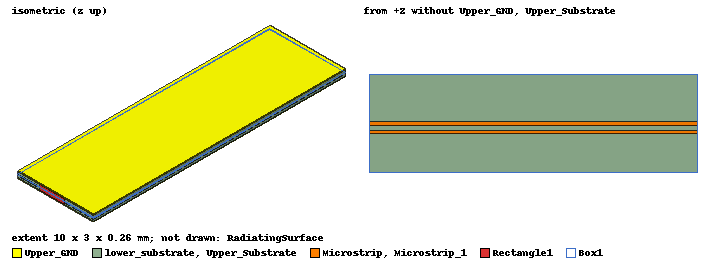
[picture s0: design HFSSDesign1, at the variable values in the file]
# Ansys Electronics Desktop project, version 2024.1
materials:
  vacuum: permittivity=1
  Custom_ADM_Material: permittivity=3.3 dielectric_loss_tangent=0.003 delta_H_freq=10GHz
  copper: permeability=0.999991 conductivity=58000000
  pec: conductivity=1e+30
  air: permittivity=1.0006 permeability=1.0000004

design HFSSDesign1 (HFSS, HFSS Terminal Network, model units mm)
options: Allow_Material_Override Calculate_Lossy_Dielectrics
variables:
  track_length = 10mm
  sub_thick = 100um
  track_width = 0.0954mm
  copper_thick = 20um
  port_width = 1mm
  spacing = 0.25mm
  pitch = 14.07mil
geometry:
  lower_substrate [Custom_ADM_Material] = box(corner=(-track_length/2, 1.5mm, 0mm), size=(track_length, -3mm, -sub_thick))
  RadiatingSurface [vacuum] = region(absolute_offset: +X=0mm, -X=0mm, +Y=2mm, -Y=2mm, +Z=2mm, -Z=2mm)
  Microstrip [copper] = rectangle(corner=(-track_length/2, -track_width/2, 0mm), x_size=track_length, y_size=track_width)
  Microstrip.thicken(copper_thick)
  Upper_Substrate [Custom_ADM_Material] = lower_substrate.duplicate_along_line(step=(0mm, 0mm, 0.12mm), total=2)
  Box1 [air] = box(corner=(track_length/2, 1.5mm, 0.02mm), size=(-track_length, -3mm, -0.02mm))
  Upper_GND [copper] = object_from(Upper_Substrate.face(1 of 6))
  Upper_GND.thicken(copper_thick)
  Lower_GND = object_from(lower_substrate.face(-z))
  Lower_GND.thicken(20um)
  Rectangle1 = rectangle(corner=(track_length/2, -4*track_width - spacing, 0.12mm), y_size=8*track_width+spacing, z_size=-0.22mm)
  Rectangle1_1 = Rectangle1.duplicate_along_line(step=(-track_length, 0mm, 0mm), total=2)
  Microstrip_1 [copper] = Microstrip.duplicate_along_line(step=(0mm, -spacing, 0mm), total=2)
  Cylinder1 = cylinder(axis=Z, base_centre=(4.83mm, -spacing/2, -sub_thick), radius=(0.075/2) mm, height=sub_thick)
  Cylinder1_1..Cylinder1_27 = Cylinder1.duplicate_along_line(step=(-pitch, 0mm, 0mm), total=56)  # copies kept: 1..27
  Cylinder1.unite(Cylinder1_1..Cylinder1_27)
  Cylinder1_28 = Cylinder1.duplicate_along_line(step=(0mm, 0mm, sub_thick+copper_thick), total=2)
  Upper_GND.unite(Lower_GND, Cylinder1_28, Cylinder1)
  Rectangle2 = rectangle(corner=(4.83mm, -0.025mm, 0mm), x_size=-9.75mm, y_size=-0.1mm)
  Rectangle2.thicken(20um)
  Rectangle2.move(0mm, -0.05mm, 0mm)
  Rectangle2.move(0.0375mm, 0mm, 0mm)
  Upper_GND.unite(Rectangle2)
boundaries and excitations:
  Open1: Radiation Objects=RadiatingSurface
  T1_1: Terminal port=1 Faces=Microstrip.face(at (5, 0, 0.01)) TerminalResistance=50ohm
  T2_1: Terminal port=1 Faces=Microstrip_1.face(at (5, -0.25, 0.01)) TerminalResistance=50ohm
  T1_2: Terminal port=2 Faces=Microstrip.face(at (-5, 0, 0.01)) TerminalResistance=50ohm
  T2_2: Terminal port=2 Faces=Microstrip_1.face(at (-5, -0.25, 0.01)) TerminalResistance=50ohm
  1: Wave Port Faces=Rectangle1.face(at (5, -0.125, 0.01)) WavePortType=Terminal NumModes=1
  2: Wave Port Faces=Rectangle1_1.face WavePortType=Terminal NumModes=1
  reference conductors: Upper_GND
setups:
  Setup1: HfssDriven MultipleAdaptiveFreqsSetup{Low=0GHz High=50GHz} MaxDeltaS=0.02 MaximumPasses=20 MinimumPasses=1 MinimumConvergedPasses=1 PercentRefinement=30 BasisOrder=1 PortAccuracy=2 DrivenSolverType="Direct Solver"
    sweep Sweep: 0GHz to 50GHz, 401 points; Type=Interpolating InterpTolerance=0.5 InterpMaxSolns=250 MinSolvedFreq=0.01GHz PassivityErrorTolerance=0.0001
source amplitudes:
  1:1, 1:2: 1V 0deg
  2:1, 2:2: 0V 0deg
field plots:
  Mag_E1: E Field on Setup1 : LastAdaptive at Freq=30GHz Phase=0deg
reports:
  Terminal S Parameter Plot 1: dB(St(T2_2,T1_1)) vs Freq on Setup1 : Sweep; markers m1 at 50GHz, m2 at 10GHz
  Terminal S Parameter Plot 2: dB(St(T1_1,T1_1)) vs Freq on Setup1 : Sweep
  Terminal S Parameter Plot 3: dB(St(T1_1,T1_2)) vs Freq on Setup1 : Sweep; markers m1 at 10GHz, m2 at 50GHz
  Terminal S Parameter Plot 4: dB(St(T2_1,T1_1)) vs Freq on Setup1 : Sweep; markers m1 at 44.75GHz, m2 at 10GHz
